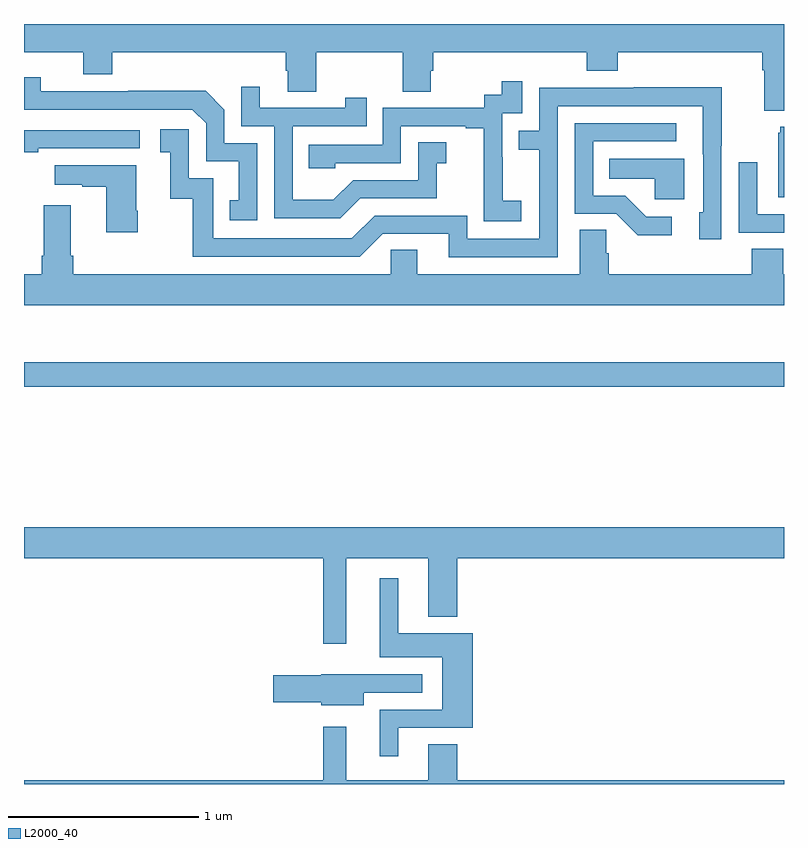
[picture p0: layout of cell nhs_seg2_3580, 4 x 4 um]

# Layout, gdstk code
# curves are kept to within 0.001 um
import gdstk
lib = gdstk.Library(unit=1e-6, precision=1e-09)
def R(c, l, rs):  # rectangles x0, y0, x1, y1
    for r in rs: c.add(gdstk.rectangle(r[:2], r[2:], *l))
def P(c, l, *ps):  # polygons
    for p in ps: c.add(gdstk.Polygon(p, *l))
L2000_40 = (2000, 40)

nhs_seg2_3580 = lib.new_cell('nhs_seg2_3580')
R(nhs_seg2_3580, L2000_40, [(299,629.89,303,630.019)])
P(nhs_seg2_3580, L2000_40, [(303,631.8),(299,631.8),(299,631.652),(299.312,631.652),(299.312,631.535),(299.465,631.535),(299.465,631.652),(300.377,631.652),(300.377,631.554),(300.389,631.554),(300.389,631.444),(300.537,631.444),(300.537,631.652),(300.994,631.652),(300.994,631.444),(301.141,631.444),(301.141,631.554),(301.154,631.554),(301.154,631.652),(301.961,631.652),(301.961,631.553),(302.126,631.553),(302.126,631.652),(302.885,631.652),(302.885,631.556),(302.897,631.556),(302.897,631.343),(303,631.343)],
  [(300.228,631.173),(300.054,631.173),(300.054,631.35),(299.956,631.448),(299.548,631.448),(299.548,631.446),(299.088,631.446),(299.088,631.519),(299,631.519),(299,631.35),(299.886,631.35),(299.958,631.278),(299.958,631.077),(300.131,631.077),(300.131,630.873),(300.082,630.873),(300.082,630.768),(300.228,630.768)],
  [(301.618,630.871),(301.52,630.871),(301.52,631.1),(301.518,631.1),(301.518,631.329),(301.623,631.329),(301.623,631.498),(301.515,631.498),(301.515,631.428),(301.422,631.428),(301.422,631.359),(300.888,631.359),(300.888,631.164),(300.499,631.164),(300.499,631.041),(300.639,631.041),(300.639,631.068),(300.984,631.068),(300.984,631.263),(301.325,631.263),(301.325,631.251),(301.421,631.251),(301.421,630.967),(301.42,630.967),(301.42,630.761),(301.618,630.761)],
  [(300.769,630.882),(301.173,630.882),(301.173,631.067),(301.222,631.067),(301.222,631.177),(301.074,631.177),(301.074,630.978),(300.732,630.978),(300.628,630.874),(300.414,630.874),(300.414,631.263),(300.803,631.263),(300.803,631.411),(300.692,631.411),(300.692,631.359),(300.241,631.359),(300.241,631.471),(300.144,631.471),(300.144,631.263),(300.318,631.263),(300.318,630.777),(300.664,630.777)],
  [(301.809,631.368),(302.573,631.368),(302.574,630.81),(302.555,630.81),(302.555,630.666),(302.67,630.666),(302.67,631.159),(302.673,631.159),(302.673,631.466),(302.209,631.466),(302.209,631.464),(301.713,631.464),(301.713,631.239),(301.603,631.239),(301.603,631.138),(301.713,631.138),(301.713,630.669),(301.332,630.669),(301.332,630.792),(300.846,630.792),(300.726,630.672),(299.997,630.672),(299.997,630.987),(299.868,630.987),(299.868,631.246),(299.718,631.246),(299.718,631.125),(299.771,631.125),(299.771,630.879),(299.889,630.879),(299.889,630.576),(300.768,630.576),(300.888,630.696),(301.235,630.696),(301.235,630.573),(301.809,630.573)],
  [(302.41,630.786),(302.275,630.786),(302.164,630.897),(301.995,630.897),(301.995,631.182),(302.434,631.182),(302.434,631.278),(301.899,631.278),(301.899,630.801),(302.118,630.801),(302.231,630.689),(302.41,630.689)],
  [(303,631.258),(302.981,631.258),(302.981,631.227),(302.969,631.227),(302.969,630.887),(303,630.887)],
  [(299.075,631.146),(299.608,631.146),(299.608,631.242),(299,631.242),(299,631.126),(299.075,631.126)],
  [(302.476,631.09),(302.08,631.09),(302.08,630.986),(302.319,630.986),(302.319,630.878),(302.476,630.878)],
  [(303,630.798),(302.859,630.798),(302.859,631.072),(302.763,631.072),(302.763,630.702),(303,630.702)],
  [(299.598,630.817),(299.59,630.817),(299.59,631.057),(299.163,631.057),(299.163,630.953),(299.306,630.953),(299.306,630.943),(299.432,630.943),(299.432,630.705),(299.598,630.705)],
  [(300.93,630.611),(300.93,630.484),(299.258,630.484),(299.258,630.58),(299.245,630.58),(299.245,630.847),(299.105,630.847),(299.105,630.58),(299.093,630.58),(299.093,630.484),(299,630.484),(299,630.32),(303,630.32),(303,630.484),(302.996,630.484),(302.996,630.617),(302.831,630.617),(302.831,630.484),(302.078,630.484),(302.078,630.593),(302.064,630.593),(302.064,630.716),(301.925,630.716),(301.925,630.484),(301.069,630.484),(301.069,630.611)],
  [(300.697,628.988),(301.127,628.988),(301.127,628.679),(301.28,628.679),(301.28,628.988),(303,628.988),(303,629.152),(299,629.152),(299,628.988),(300.576,628.988),(300.576,628.539),(300.697,628.539)],
  [(300.97,628.095),(301.361,628.095),(301.361,628.594),(300.97,628.594),(300.97,628.882),(300.872,628.882),(300.872,628.466),(301.202,628.466),(301.202,628.191),(300.872,628.191),(300.872,627.945),(300.97,627.945)],
  [(300.787,628.281),(301.096,628.281),(301.096,628.377),(300.783,628.377),(300.783,628.378),(300.564,628.378),(300.564,628.373),(300.312,628.373),(300.312,628.231),(300.564,628.231),(300.564,628.214),(300.787,628.214)],
  [(303,627.82),(301.28,627.82),(301.28,628.01),(301.127,628.01),(301.127,627.82),(300.697,627.82),(300.697,628.102),(300.576,628.102),(300.576,627.82),(299,627.82),(299,627.8),(303,627.8)])

lib.write_gds('nhs_seg2_3580.gds')
